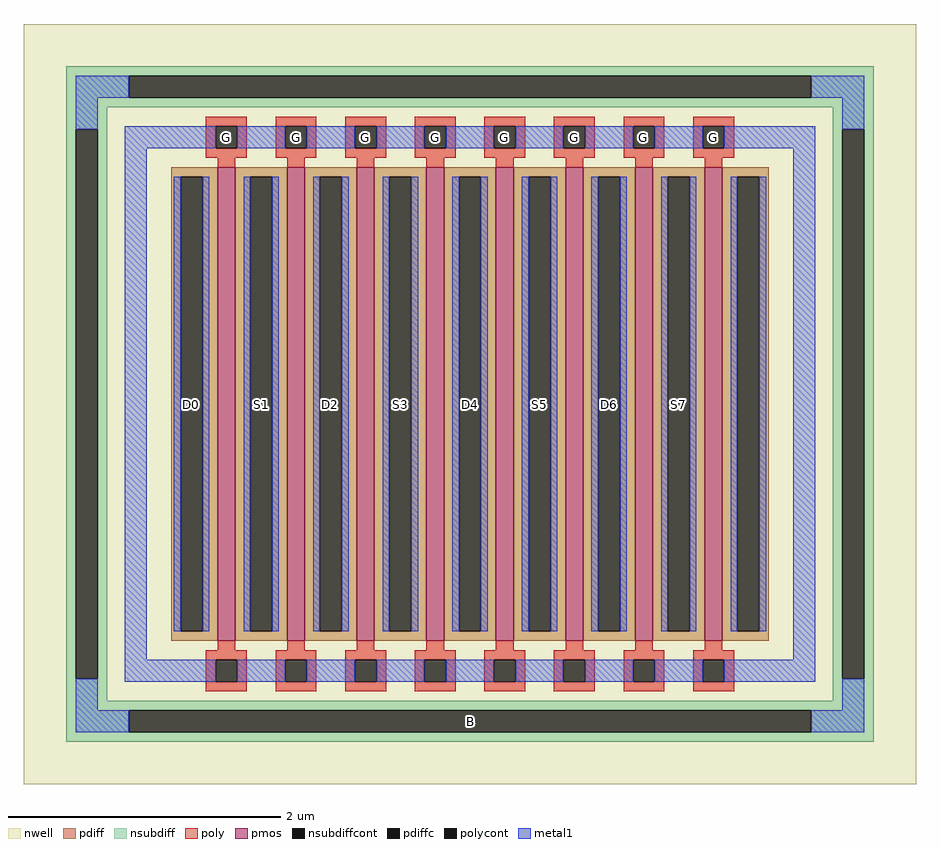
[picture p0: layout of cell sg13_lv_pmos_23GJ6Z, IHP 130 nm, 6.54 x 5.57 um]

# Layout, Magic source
magic
tech ihp-sg13cmos5l
magscale 1 2
<< nwell >>
rect -654 -557 654 557
<< pmos >>
rect -370 -347 -344 347
rect -268 -347 -242 347
rect -166 -347 -140 347
rect -64 -347 -38 347
rect 38 -347 64 347
rect 140 -347 166 347
rect 242 -347 268 347
rect 344 -347 370 347
<< pdiff >>
rect -438 333 -370 347
rect -438 -333 -424 333
rect -392 -333 -370 333
rect -438 -347 -370 -333
rect -344 333 -268 347
rect -344 -333 -322 333
rect -290 -333 -268 333
rect -344 -347 -268 -333
rect -242 333 -166 347
rect -242 -333 -220 333
rect -188 -333 -166 333
rect -242 -347 -166 -333
rect -140 333 -64 347
rect -140 -333 -118 333
rect -86 -333 -64 333
rect -140 -347 -64 -333
rect -38 333 38 347
rect -38 -333 -16 333
rect 16 -333 38 333
rect -38 -347 38 -333
rect 64 333 140 347
rect 64 -333 86 333
rect 118 -333 140 333
rect 64 -347 140 -333
rect 166 333 242 347
rect 166 -333 188 333
rect 220 -333 242 333
rect 166 -347 242 -333
rect 268 333 344 347
rect 268 -333 290 333
rect 322 -333 344 333
rect 268 -347 344 -333
rect 370 333 438 347
rect 370 -333 392 333
rect 424 -333 438 333
rect 370 -347 438 -333
<< pdiffc >>
rect -424 -333 -392 333
rect -322 -333 -290 333
rect -220 -333 -188 333
rect -118 -333 -86 333
rect -16 -333 16 333
rect 86 -333 118 333
rect 188 -333 220 333
rect 290 -333 322 333
rect 392 -333 424 333
<< nsubdiff >>
rect -592 481 592 495
rect -592 449 -500 481
rect 500 449 592 481
rect -592 435 592 449
rect -592 403 -532 435
rect -592 -403 -578 403
rect -546 -403 -532 403
rect 532 403 592 435
rect -592 -435 -532 -403
rect 532 -403 546 403
rect 578 -403 592 403
rect 532 -435 592 -403
rect -592 -449 592 -435
rect -592 -481 -500 -449
rect 500 -481 592 -449
rect -592 -495 592 -481
<< nsubdiffcont >>
rect -500 449 500 481
rect -578 -403 -546 403
rect 546 -403 578 403
rect -500 -481 500 -449
<< poly >>
rect -387 407 -327 421
rect -387 375 -373 407
rect -341 375 -327 407
rect -387 361 -327 375
rect -285 407 -225 421
rect -285 375 -271 407
rect -239 375 -225 407
rect -285 361 -225 375
rect -183 407 -123 421
rect -183 375 -169 407
rect -137 375 -123 407
rect -183 361 -123 375
rect -81 407 -21 421
rect -81 375 -67 407
rect -35 375 -21 407
rect -81 361 -21 375
rect 21 407 81 421
rect 21 375 35 407
rect 67 375 81 407
rect 21 361 81 375
rect 123 407 183 421
rect 123 375 137 407
rect 169 375 183 407
rect 123 361 183 375
rect 225 407 285 421
rect 225 375 239 407
rect 271 375 285 407
rect 225 361 285 375
rect 327 407 387 421
rect 327 375 341 407
rect 373 375 387 407
rect 327 361 387 375
rect -370 347 -344 361
rect -268 347 -242 361
rect -166 347 -140 361
rect -64 347 -38 361
rect 38 347 64 361
rect 140 347 166 361
rect 242 347 268 361
rect 344 347 370 361
rect -370 -361 -344 -347
rect -268 -361 -242 -347
rect -166 -361 -140 -347
rect -64 -361 -38 -347
rect 38 -361 64 -347
rect 140 -361 166 -347
rect 242 -361 268 -347
rect 344 -361 370 -347
rect -387 -375 -327 -361
rect -387 -407 -373 -375
rect -341 -407 -327 -375
rect -387 -421 -327 -407
rect -285 -375 -225 -361
rect -285 -407 -271 -375
rect -239 -407 -225 -375
rect -285 -421 -225 -407
rect -183 -375 -123 -361
rect -183 -407 -169 -375
rect -137 -407 -123 -375
rect -183 -421 -123 -407
rect -81 -375 -21 -361
rect -81 -407 -67 -375
rect -35 -407 -21 -375
rect -81 -421 -21 -407
rect 21 -375 81 -361
rect 21 -407 35 -375
rect 67 -407 81 -375
rect 21 -421 81 -407
rect 123 -375 183 -361
rect 123 -407 137 -375
rect 169 -407 183 -375
rect 123 -421 183 -407
rect 225 -375 285 -361
rect 225 -407 239 -375
rect 271 -407 285 -375
rect 225 -421 285 -407
rect 327 -375 387 -361
rect 327 -407 341 -375
rect 373 -407 387 -375
rect 327 -421 387 -407
<< polycont >>
rect -373 375 -341 407
rect -271 375 -239 407
rect -169 375 -137 407
rect -67 375 -35 407
rect 35 375 67 407
rect 137 375 169 407
rect 239 375 271 407
rect 341 375 373 407
rect -373 -407 -341 -375
rect -271 -407 -239 -375
rect -169 -407 -137 -375
rect -67 -407 -35 -375
rect 35 -407 67 -375
rect 137 -407 169 -375
rect 239 -407 271 -375
rect 341 -407 373 -375
<< metal1 >>
rect -578 449 -500 481
rect 500 449 578 481
rect -578 403 -546 449
rect -578 -449 -546 -403
rect -506 375 -373 407
rect -341 375 -271 407
rect -239 375 -169 407
rect -137 375 -67 407
rect -35 375 35 407
rect 67 375 137 407
rect 169 375 239 407
rect 271 375 341 407
rect 373 375 506 407
rect -506 -375 -474 375
rect -434 -333 -424 333
rect -392 -333 -382 333
rect -332 -333 -322 333
rect -290 -333 -280 333
rect -230 -333 -220 333
rect -188 -333 -178 333
rect -128 -333 -118 333
rect -86 -333 -76 333
rect -26 -333 -16 333
rect 16 -333 26 333
rect 76 -333 86 333
rect 118 -333 128 333
rect 178 -333 188 333
rect 220 -333 230 333
rect 280 -333 290 333
rect 322 -333 332 333
rect 382 -333 392 333
rect 424 -333 434 333
rect 474 -375 506 375
rect -506 -407 -373 -375
rect -341 -407 -271 -375
rect -239 -407 -169 -375
rect -137 -407 -67 -375
rect -35 -407 35 -375
rect 67 -407 137 -375
rect 169 -407 239 -375
rect 271 -407 341 -375
rect 373 -407 506 -375
rect 546 403 578 449
rect 546 -449 578 -403
rect -578 -481 -500 -449
rect 500 -481 578 -449
<< labels >>
rlabel nsubdiffcont 0 -465 0 -465 0 B
port 1 nsew
rlabel pdiffc -408 0 -408 0 0 D0
port 2 nsew
rlabel polycont -357 391 -357 391 0 G
port 3 nsew
rlabel pdiffc -306 0 -306 0 0 S1
port 4 nsew
rlabel polycont -255 391 -255 391 0 G
port 3 nsew
rlabel pdiffc -204 0 -204 0 0 D2
port 5 nsew
rlabel polycont -153 391 -153 391 0 G
port 3 nsew
rlabel pdiffc -102 0 -102 0 0 S3
port 6 nsew
rlabel polycont -51 391 -51 391 0 G
port 3 nsew
rlabel pdiffc 0 0 0 0 0 D4
port 7 nsew
rlabel polycont 51 391 51 391 0 G
port 3 nsew
rlabel pdiffc 102 0 102 0 0 S5
port 8 nsew
rlabel polycont 153 391 153 391 0 G
port 3 nsew
rlabel pdiffc 204 0 204 0 0 D6
port 9 nsew
rlabel polycont 255 391 255 391 0 G
port 3 nsew
rlabel pdiffc 306 0 306 0 0 S7
port 10 nsew
rlabel polycont 357 391 357 391 0 G
port 3 nsew
<< properties >>
string FIXED_BBOX -562 -465 562 465
string gencell sg13_lv_pmos
string library sg13cmos5l
string parameters w 3.46625 l 0.13 m 1 ng 8 diffcov 100 polycov 100 guard 1 glc 1 grc 1 gtc 1 gbc 1 tbcov 100 rlcov 100 topc 1 botc 1 poverlap 0 doverlap 1 lmin 0.13 wmin 0.15 class mosfet compatible {sg13_lv_pmos sg13_hv_pmos} full_metal 1 conn_gates 1 gate_ring 1 ccols 1 viasrc 0 viadrn 0 viagate 0 viagb 0 viagr 0 viagl 0 viagt 0 doports 1
<< end >>
